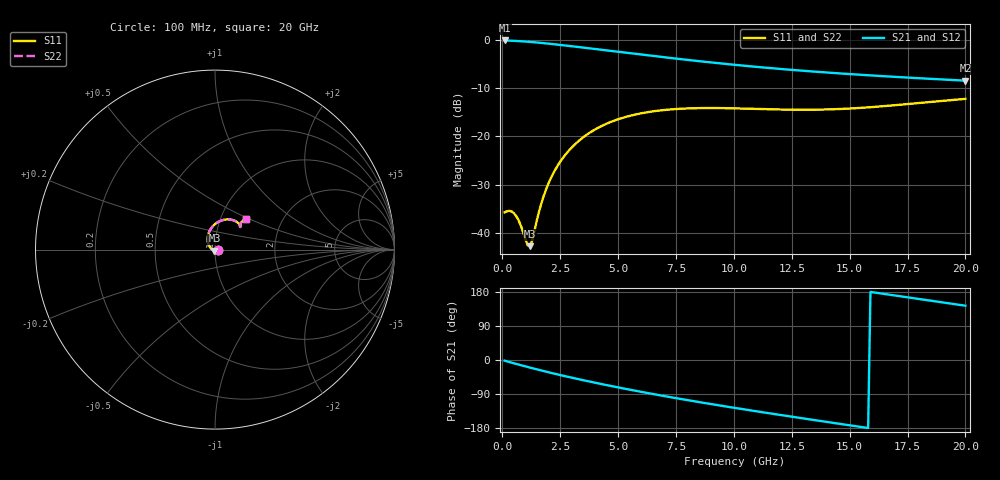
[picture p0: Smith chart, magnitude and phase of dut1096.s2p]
! Touchstone file exported from HFSS 2024.1.0
!  File:  C:/UserFiles/LocalFiles/RDL_TSV_Batchsim/temp_RDL_TSV_1096_1780099298.aedt
!  Generated:  08:13:06 AM May 30, 2026
!  Design:  RDL_TSV
!  Project:  temp_RDL_TSV_1096_1780099298
!  Setup:  Setup1
!  Solution:  Sweep
! Variables:
!  dtsv = 8.53um
!  hbump = 3um
!  htsv = 72.02um
!  ldown = 547.7um
!  lrdl = 421.42um
!  p = 40
!  p1 = 40.16um
!  rhole = 10um
!  subl = 3328.78um
!  t = 450um
!  tdown = 2.02um
!  trdl = 4.79um
!  viad = 10um
!  wdown = 29.92um
!  wrdl = 21.58um
!  xbump = 18um
# GHz S MA R 50.000000
! Terminal data exported
! Port[1] = TM1_1_T1
! Port[2] = TM1_4_T1
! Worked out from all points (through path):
!   200 points, 100 MHz to 20 GHz, reference 50 ohm
!   highest |S21| = -0.15 dB at 100 MHz (marker M1); lowest = -8.5 dB at 20 GHz (marker M2)
!   group delay of S21, straight-line fit = 28.8 ps
!   lowest |S11| = -42.7 dB at 1.2 GHz (marker M3), VSWR 1.01, Z = 49.7 - j0.648 ohm
!   |S11| at or under -10 dB: start of sweep to end of sweep
!   |S22| runs from -42.7 to -12.2 dB; largest |S21 - S12| = 2.1e-14
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0.1  0.01641 -0.4  0.9832 -1.8  0.9832 -1.8  0.01641 -0.4
! Gamma 0 0 0 0
! Port Impedance 50 0 50 0
0.4  0.01678 -11.0  0.977 -7.0  0.977 -7.0  0.01679 -11.0
0.6  0.01503 -23.3  0.9716 -10.4  0.9716 -10.4  0.01503 -23.3
0.8  0.01198 -39.8  0.9654 -13.7  0.9654 -13.7  0.01199 -39.8
1.1  0.007444 -89.6  0.9543 -18.5  0.9543 -18.5  0.007443 -89.6
1.2  0.007332 -117.1  0.9501 -20.1  0.9501 -20.1  0.007328 -117.0
1.3  0.008551 -142.7  0.9458 -21.7  0.9458 -21.7  0.008544 -142.7
1.5  0.01379 -174.9  0.9366 -24.9  0.9366 -24.9  0.01378 -174.9
1.7  0.02083 168.0  0.9268 -27.9  0.9268 -27.9  0.02082 168.0
2.1  0.03713 148.3  0.906 -33.9  0.906 -33.9  0.03711 148.3
2.4  0.05025 138.0  0.8898 -38.3  0.8898 -38.3  0.05023 138.0
2.7  0.06362 129.4  0.8733 -42.5  0.8733 -42.5  0.06359 129.4
3.5  0.09823 111.0  0.8296 -53.4  0.8296 -53.4  0.09817 111.0
4.2  0.1251 98.1  0.7924 -62.4  0.7924 -62.4  0.1251 98.0
4.9  0.1476 87.1  0.7565 -71.1  0.7565 -71.1  0.1475 87.1
6.8  0.1856 64.9  0.6676 -93.1  0.6676 -93.1  0.1854 64.9
8.4  0.1961 52.6  0.604 -110.1  0.604 -110.1  0.196 52.6
10.1  0.1951 44.9  0.5484 -127.0  0.5484 -127.0  0.1949 44.9
11.7  0.1905 42.0  0.506 -142.2  0.506 -142.2  0.1904 42.0
13.4  0.1889 42.3  0.4696 -157.9  0.4696 -157.9  0.1888 42.3
16.7  0.2078 45.8  0.4165 172.5  0.4165 172.5  0.2078 45.8
20  0.2447 44.7  0.3777 143.3  0.3777 143.3  0.2448 44.7
